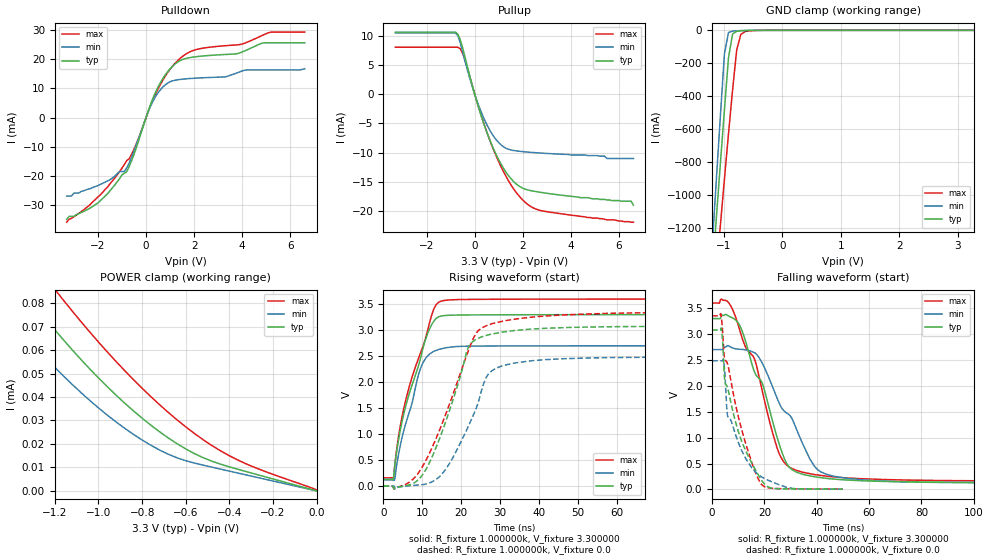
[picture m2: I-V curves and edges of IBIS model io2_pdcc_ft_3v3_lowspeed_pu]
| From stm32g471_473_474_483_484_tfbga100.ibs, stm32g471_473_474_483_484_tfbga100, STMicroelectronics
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|   Model io2_pdcc_ft_3v3_lowspeed_pu
[Model]  io2_pdcc_ft_3v3_lowspeed_pu
Model_type I/O
Polarity   Non-Inverting
Enable   Active-Low
Vinl =   0.990000V
Vinh =   2.310000V
Vmeas =  1.650000V
Cref =   40.000000pF
Rref =   100.000000M
Vref =   0.0V
C_comp   4.843300pF   4.282700pF   5.299100pF
[Temperature Range]   25.000000   -40.000000   0.125000k
[Pullup Reference]   3.300000V   2.700000V   3.600000V
[Pulldown Reference]   0.0V   0.0V   0.0V
[POWER Clamp Reference]   3.300000V   2.700000V   3.600000V
[GND Clamp Reference]   0.0V   0.0V   0.0V
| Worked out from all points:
|   slope of the pulldown table from 0 to 0.495 V, typ, clamps not added: 47.5 ohm
|   slope of the pullup table from 0 to 0.495 V, typ, clamps not added: 77.3 ohm
|   GND clamp passes 1 mA (typ) near -0.58 V on its own axis
|   rising waveform, R_fixture 1.000000k, V_fixture 3.300000: 20-80 % time 6.61ns typ, 5.23ns min, 7.39ns max; typ from 0.131 V to 3.3 V
|   rising waveform, R_fixture 1.000000k, V_fixture 0.0: 20-80 % time 8.14ns typ, 8.36ns min, 10.1ns max; typ from 0.003 V to 3.08 V
|   falling waveform, R_fixture 1.000000k, V_fixture 3.300000: 20-80 % time 12.5ns typ, 15.4ns min, 13ns max; typ from 3.3 V to 0.131 V
|   falling waveform, R_fixture 1.000000k, V_fixture 0.0: 20-80 % time 9.64ns typ, 8.9ns min, 9.71ns max; typ from 3.08 V to 0.005 V
[Pulldown]
|Voltage   I(typ)   I(min)   I(max)
-3.3V     -35mA      -27mA      -36mA
-2V       -29.4mA    -23.4mA    -27.3mA
-800mV    -18.58mA   -17.27mA   -14.77mA
-400mV    -10.26mA   -9.232mA   -8.958mA
100mV     2.513mA    2.208mA    2.267mA
400mV     8.782mA    7.287mA    8.184mA
800mV     14.68mA    11.26mA    14.27mA
1.3V      19.01mA    12.98mA    19.48mA
2V        20.86mA    13.52mA    23.19mA
3.9V      22.24mA    15.74mA    25.12mA
5.2V      25.73mA    16.4mA     29.41mA
6.6V      25.73mA    16.8mA     29.41mA
[Pullup]
|Voltage   I(typ)   I(min)   I(max)
-3.3V     10.64mA    10.5mA     8.053mA
-800mV    10.64mA    10.5mA     8.053mA
-600mV    9.307mA    8.798mA    7.781mA
-400mV    6.304mA    5.605mA    5.798mA
0V        290fA      0A         4.63nA
600mV     -7.545mA   -5.957mA   -7.567mA
1.2V      -12.7mA    -9.001mA   -13.28mA
1.8V      -15.6mA    -9.729mA   -17.2mA
2.2V      -16.37mA   -9.895mA   -18.84mA
2.7V      -16.76mA   -10.05mA   -19.86mA
6.5V      -18.3mA    -11mA      -21.9mA
6.6V      -19mA      -11mA      -21.9mA
[GND_clamp]
|Voltage   I(typ)   I(min)   I(max)
-3.3V     -9.767A    -9.748A    -9.881A
-1.2V     -1.489A    -1.316A    -1.768A
-1.13V    -1.15A     -919.7mA   -1.477A
-1.06V    -814.4mA   -527.2mA   -1.189A
-990mV    -484.1mA   -143.5mA   -905.3mA
-920mV    -166.2mA   -12.77mA   -627.6mA
-850mV    -21.87mA   -4.511mA   -362mA
-780mV    -5.991mA   -2.83mA    -119.7mA
-710mV    -3.238mA   -1.563mA   -25.44mA
-640mV    -1.838mA   -627.8uA   -8.016mA
-290mV    -1.61uA    0A         -104.4uA
3.28V     0A         0A         431.1nA
[POWER_clamp]
|Voltage   I(typ)   I(min)   I(max)
-3.28V    303.8uA    205.1uA    343.4uA
-1.48V    102.1uA    81.91uA    121.2uA
-1.32V    82.36uA    64.52uA    100.5uA
-1.2V     68.64uA    52.64uA    85.87uA
-1.16V    64.29uA    48.93uA    81.18uA
-1.04V    51.98uA    38.56uA    67.7uA
-920mV    40.84uA    29.44uA    55.19uA
-760mV    28.01uA    19.47uA    40.17uA
-640mV    20.12uA    14.11uA    30.28uA
-520mV    14.14uA    10.98uA    21.8uA
-360mV    9.192uA    7.592uA    13.1uA
0V        0A         0A         460.3nA
[Ramp]
| variable   typ   min   max
dV/dt_r  1.96459/5.88264n   1.60560/5.88874n   2.14191/7.16034n
dV/dt_f  1.97053/9.56713n   1.61164/11.23903n   2.14786/10.16978n
R_load = 10.000000k
[Rising Waveform]
R_fixture= 1.000000k
V_fixture= 3.300000
V_fixture_min= 2.700000
V_fixture_max= 3.600000
|time   V(typ)   V(min)   V(max)
0s        131.1mV    120.9mV    159.8mV
2.603ns   155.1mV    121.2mV    154.1mV
3.003ns   453.3mV    173.6mV    464.3mV
3.604ns   769mV      498.2mV    816.4mV
5.205ns   1.384V     1.063V     1.488V
9.409ns   2.428V     2.24V      2.542V
11.81ns   3.021V     2.541V     3.135V
13.01ns   3.179V     2.597V     3.421V
14.61ns   3.269V     2.638V     3.555V
99.7ns    3.3V       2.7V       3.6V
[Rising Waveform]
R_fixture= 1.000000k
V_fixture= 0.0
V_fixture_min= 0.0
V_fixture_max= 0.0
|time   V(typ)   V(min)   V(max)
0s        3.078mV    2.316mV    4.667mV
2.703ns   -50.95mV   2.653mV    -58.54mV
8.408ns   87.91mV    17.66mV    198.6mV
14.41ns   914.9mV    183.3mV    1.08V
21.92ns   2.689V     1.171V     2.627V
24.32ns   2.844V     1.604V     2.99V
26.13ns   2.893V     2.049V     3.077V
27.93ns   2.927V     2.225V     3.127V
51.35ns   3.059V     2.463V     3.31V
149.5ns   3.078V     2.485V     3.353V
[Falling Waveform]
R_fixture= 1.000000k
V_fixture= 3.300000
V_fixture_min= 2.700000
V_fixture_max= 3.600000
|time   V(typ)   V(min)   V(max)
0s        3.3V       2.7V       3.6V
6.006ns   3.358V     2.777V     3.625V
10.41ns   3.179V     2.707V     3.101V
17.62ns   2.159V     2.568V     2.249V
19.62ns   1.985V     2.391V     1.8V
25.63ns   876mV      1.667V     690.4mV
31.63ns   349.9mV    1.238V     377.6mV
40.44ns   234.9mV    373.7mV    277.2mV
50.85ns   182.7mV    218.2mV    223.3mV
199.4ns   131.2mV    121mV      159.9mV
[Falling Waveform]
R_fixture= 1.000000k
V_fixture= 0.0
V_fixture_min= 0.0
V_fixture_max= 0.0
|time   V(typ)   V(min)   V(max)
0s        3.078V     2.485V     3.353V
3.303ns   3.106V     2.485V     3.388V
3.804ns   2.989V     2.485V     3.187V
4.304ns   2.583V     2.505V     2.799V
5.005ns   2.048V     2.125V     2.5V
6.006ns   1.944V     1.404V     2.405V
11.11ns   951.3mV    772.3mV    1.189V
18.42ns   215.2mV    259.6mV    123.4mV
23.92ns   16.98mV    124mV      17.58mV
49.85ns   4.525mV    4.344mV    6.853mV
